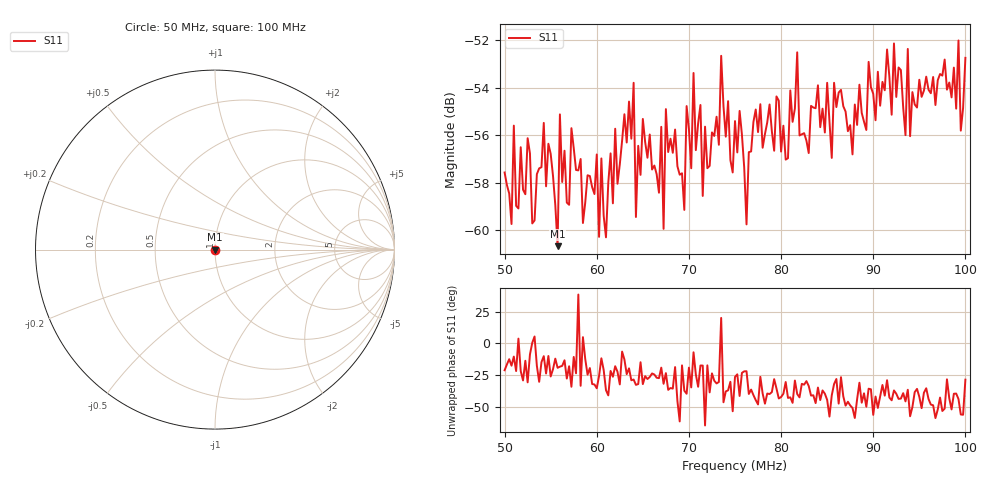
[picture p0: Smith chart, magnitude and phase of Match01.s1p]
!Agilent Technologies,E5072A,MY51200456,A.01.06
!Date: Wed Sep 02 21:06:03 2015
!Data & Calibration Information:
!Freq	S11:SOLT1(ON)
!PortZ  Port1:50+j0
!Above PortZ is port z conversion or system Z0 setting when saving the data.
!When reading, reference impedance value at option line is always used.
# Hz S dB R 50
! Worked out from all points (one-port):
!   201 points, 50 MHz to 100 MHz, reference 50 ohm
!   lowest |S11| = -60.7 dB at 55.75 MHz (marker M1), VSWR 1.00, Z = 50.1 - j0.0304 ohm
!   |S11| at or under -10 dB: start of sweep to end of sweep
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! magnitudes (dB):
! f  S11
! 50 MHz  -57.6
! 53 MHz  -59.7
! 54.25 MHz  -55.5
! 55.75 MHz  -60.7
! 56 MHz  -55.1
! 56.25 MHz  -58.0
! 62.5 MHz  -57.2
! 64 MHz  -53.8
! 64.25 MHz  -59.4
! 65 MHz  -55.3
! 67 MHz  -55.6
! 67.25 MHz  -59.9
! 67.5 MHz  -54.9
! 68.75 MHz  -57.3
! 69.5 MHz  -59.1
! 70.5 MHz  -53.4
! 71.5 MHz  -58.6
! 73.5 MHz  -52.7
! 75 MHz  -55.4
! 76.25 MHz  -59.8
! 77.25 MHz  -54.9
! 81.25 MHz  -55.4
! 87.5 MHz  -55.6
! 92.25 MHz  -52.1
! 93.5 MHz  -56.0
! 93.75 MHz  -52.4
! 94 MHz  -56.0
! 100 MHz  -52.7
